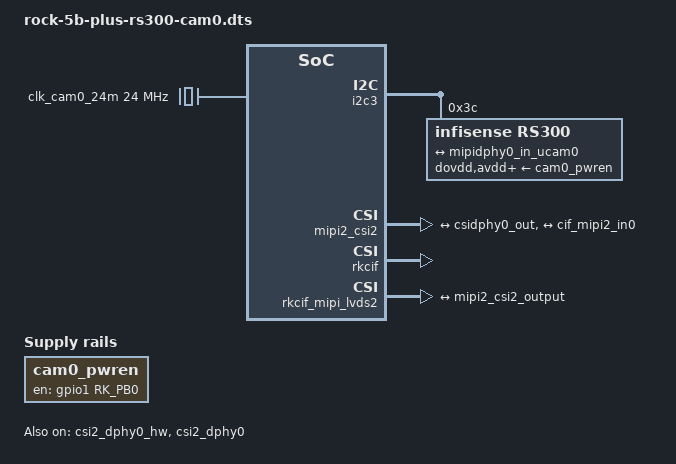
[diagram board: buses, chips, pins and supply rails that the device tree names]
// SPDX-License-Identifier: GPL-2.0-only
/*
 * Device Tree Overlay for Infisense RS300 Thermal Camera on Radxa Rock 5B+
 * CIF DIRECT PATH - Bypasses ISP entirely
 *
 * Architecture: Direct CIF Capture (No ISP Processing)
 * ===========================================================
 * This overlay routes through rkcif_mipi_lvds2 for direct DMA to memory,
 * completely bypassing the ISP (Image Signal Processor).
 *
 * Video Pipeline:
 *   RS300@3c -> i2c3 -> csi2_dphy0 -> mipi2_csi2 -> rkcif_mipi_lvds2 -> /dev/videoX
 *
 * Why CIF Direct for Thermal:
 *   - Zero image processing applied to thermal data
 *   - No color correction, white balance, or gamma curves
 *   - Lowest possible latency path
 *   - Raw 16-bit thermal data preserved exactly
 *
 * Camera Details:
 *   - Infisense RS300, MIPI CSI-2, 2 data lanes @ 80MHz
 *   - I2C address: 0x3c (7-bit)
 *   - Self-powered: CSI 3.3V -> boost to 5V internal
 *   - Internal oscillator (no external MCLK required)
 *   - Mode 2: 384x288 @ 60fps (YUYV)
 *
 * Pixel Format Note:
 *   Driver declares MEDIA_BUS_FMT_YUYV8_2X8, but userspace must request
 *   pixelformat=UYVY. rkcif passes MIPI bytes through without swapping.
 *   If RK3588 VICAP swaps bytes, change driver bus format to UYVY8_2X8.
 *
 * Compilation:
 *   cpp -nostdinc -I /usr/src/linux-headers-$(uname -r)/include \
 *       -undef -x assembler-with-cpp rock-5b-plus-rs300-cam0.dts | \
 *     dtc -@ -I dts -O dtb -o rock-5b-plus-rs300-cam0.dtbo
 *
 * Installation:
 *   sudo cp rock-5b-plus-rs300-cam0.dtbo /boot/dtbo/
 *   sudo rsetup  # Enable the overlay, or manually remove .disabled suffix
 *   sudo reboot
 */
/dts-v1/;
/plugin/;

#include <dt-bindings/gpio/gpio.h>
#include <dt-bindings/pinctrl/rockchip.h>

/ {
	metadata {
		title = "Enable RS300 Thermal Camera on CAM0";
		compatible = "radxa,rock-5b-plus";
		category = "camera";
		exclusive = "csi2_dphy0";
		description = "Enable Infisense RS300 thermal camera on CAM0 (CIF direct, 2-lane MIPI CSI-2, I2C 0x3c).";
	};
};

/* Fragment 0: Root-level fixed clock and power regulator */
&{/} {
	clk_cam0_24m: clk-cam0-24m {
		compatible = "fixed-clock";
		clock-frequency = <24000000>;
		clock-output-names = "clk_cam0_24m";
		#clock-cells = <0>;
	};

	/*
	 * Single regulator-fixed for camera power control.
	 * RS300 is self-powered (3.3V from CSI -> internal boost to 5V).
	 * All three driver supply names (dovdd, avdd, dvdd) map here.
	 * regulator-always-on ensures power before I2C probe.
	 */
	cam0_pwren: cam0-pwren {
		compatible = "regulator-fixed";
		regulator-name = "cam0_pwren";
		regulator-always-on;
		regulator-boot-on;
		enable-active-high;
		gpio = <&gpio1 RK_PB0 GPIO_ACTIVE_HIGH>;
		pinctrl-names = "default";
		pinctrl-0 = <&cam0_pwren_gpio>;
	};
};

/* Fragment 1: I2C3 — RS300 sensor node at address 0x3c */
&i2c3 {
	status = "okay";
	#address-cells = <1>;
	#size-cells = <0>;

	rs300: rs300@3c {
		compatible = "infisense,rs300";
		reg = <0x3c>;
		clocks = <&clk_cam0_24m>;
		clock-names = "xvclk";

		dovdd-supply = <&cam0_pwren>;
		avdd-supply = <&cam0_pwren>;
		dvdd-supply = <&cam0_pwren>;

		/*
		 * Reset GPIO — RS300 has internal pull-up on NRST.
		 * The driver uses devm_gpiod_get_optional() so this is optional.
		 * Uncomment if reset control is needed:
		 * reset-gpios = <&gpio4 RK_PA0 GPIO_ACTIVE_LOW>;
		 */

		rockchip,camera-module-index = <0>;
		rockchip,camera-module-facing = "back";
		rockchip,camera-module-name = "RS300";
		rockchip,camera-module-lens-name = "default";

		status = "okay";

		port {
			rs300_out0: endpoint {
				remote-endpoint = <&mipidphy0_in_ucam0>;
				bus-type = <4>; /* MIPI CSI-2 D-PHY */
				data-lanes = <1 2>;
				link-frequencies = /bits/ 64 <80000000>;
				clock-noncontinuous;
			};
		};
	};
};

/* Fragment 2: Enable physical DPHY hardware block */
&csi2_dphy0_hw {
	status = "okay";
};

/* Fragment 3: Enable logical DPHY0 (full mode, 4-lane capable, using 2 lanes) */
&csi2_dphy0 {
	status = "okay";

	ports {
		#address-cells = <1>;
		#size-cells = <0>;

		port@0 {
			reg = <0>;
			#address-cells = <1>;
			#size-cells = <0>;

			mipidphy0_in_ucam0: endpoint@1 {
				reg = <1>;
				remote-endpoint = <&rs300_out0>;
				data-lanes = <1 2>;
			};
		};

		port@1 {
			reg = <1>;
			#address-cells = <1>;
			#size-cells = <0>;

			csidphy0_out: endpoint@0 {
				reg = <0>;
				remote-endpoint = <&mipi2_csi2_input>;
			};
		};
	};
};

/* Fragment 4: Enable CSI2 host controller mipi2_csi2 */
&mipi2_csi2 {
	status = "okay";

	ports {
		#address-cells = <1>;
		#size-cells = <0>;

		port@0 {
			reg = <0>;
			#address-cells = <1>;
			#size-cells = <0>;

			mipi2_csi2_input: endpoint@1 {
				reg = <1>;
				remote-endpoint = <&csidphy0_out>;
			};
		};

		port@1 {
			reg = <1>;
			#address-cells = <1>;
			#size-cells = <0>;

			mipi2_csi2_output: endpoint@0 {
				reg = <0>;
				remote-endpoint = <&cif_mipi2_in0>;
			};
		};
	};
};

/* Fragment 5: Enable parent rkcif */
&rkcif {
	status = "okay";
};

/* Fragment 6: Enable rkcif capture node for CAM0 (CIF direct path) */
&rkcif_mipi_lvds2 {
	status = "okay";

	port {
		cif_mipi2_in0: endpoint {
			remote-endpoint = <&mipi2_csi2_output>;
		};
	};
};

/* Fragment 7: Enable rkcif MMU (required for DMA) */
&rkcif_mmu {
	status = "okay";
};

/* Fragment 8: Pinctrl for camera power GPIO */
&pinctrl {
	camera {
		cam0_pwren_gpio: cam0-pwren-gpio {
			rockchip,pins = <1 RK_PB0 RK_FUNC_GPIO &pcfg_pull_none>;
		};
	};
};

